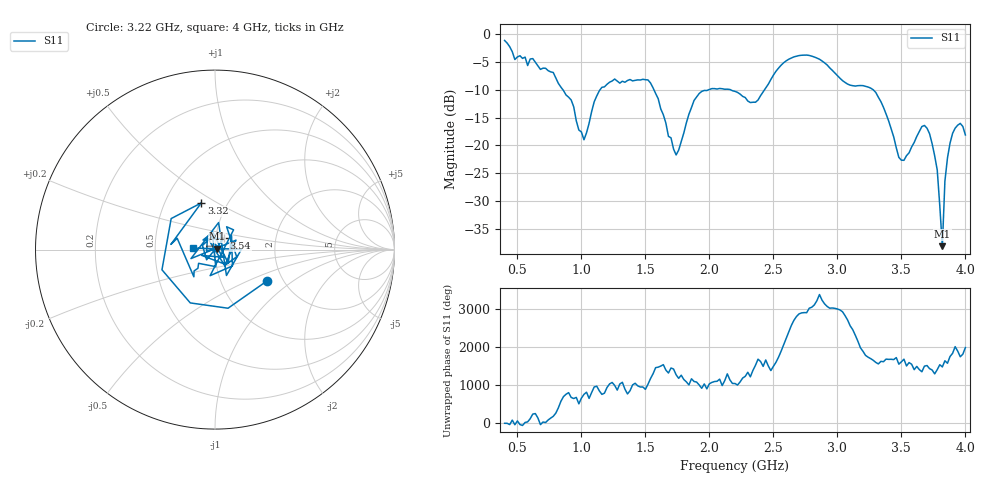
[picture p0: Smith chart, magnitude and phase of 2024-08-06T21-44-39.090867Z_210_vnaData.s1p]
!Created with skrf (http://scikit-rf.org).
# Hz S RI R 50.0
!freq ReS11 ImS11
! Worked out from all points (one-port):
!   181 points, 400 MHz to 4 GHz, reference 50 ohm
!   lowest |S11| = -38.1 dB at 3.82 GHz (marker M1), VSWR 1.03, Z = 51.1 + j0.57 ohm
!   |S11| at or under -10 dB: 855.6 MHz to 1.146 GHz (290 MHz wide, 29 % of centre); 1.567 GHz to 1.993 GHz (426.8 MHz wide, 24 % of centre); 3.28 GHz to end of sweep (the widest 3 of 4)
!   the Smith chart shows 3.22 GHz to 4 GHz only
!   S11 on the Smith chart (normalised r, x): 3.22 GHz: 1.67, -0.65; 3.32 GHz: 0.76, +0.42; 3.54 GHz: 1.10, +0.14; 4 GHz: 0.78, +0.01
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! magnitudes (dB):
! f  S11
! 400 MHz  -1.1
! 480 MHz  -4.6
! 860 MHz  -10.1
! 1.02 GHz  -19.0
! 1.14 GHz  -10.2
! 1.3 GHz  -8.8
! 1.52 GHz  -8.2
! 1.74 GHz  -21.7
! 1.76 GHz  -20.8
! 1.92 GHz  -10.7
! 2.2 GHz  -10.3
! 2.36 GHz  -12.2
! 2.66 GHz  -4.1
! 2.86 GHz  -4.5
! 3.1 GHz  -9.2
! 3.22 GHz  -9.4
! 3.32 GHz  -11.3
! 3.48 GHz  -22.2
! 3.54 GHz  -21.8
! 3.56 GHz  -21.3
! 3.66 GHz  -16.6
! 3.72 GHz  -17.9
! 3.78 GHz  -24.4
! 3.82 GHz  -38.1
! 3.84 GHz  -26.4
! 3.88 GHz  -19.6
! 3.96 GHz  -16.0
! 4 GHz  -18.1
